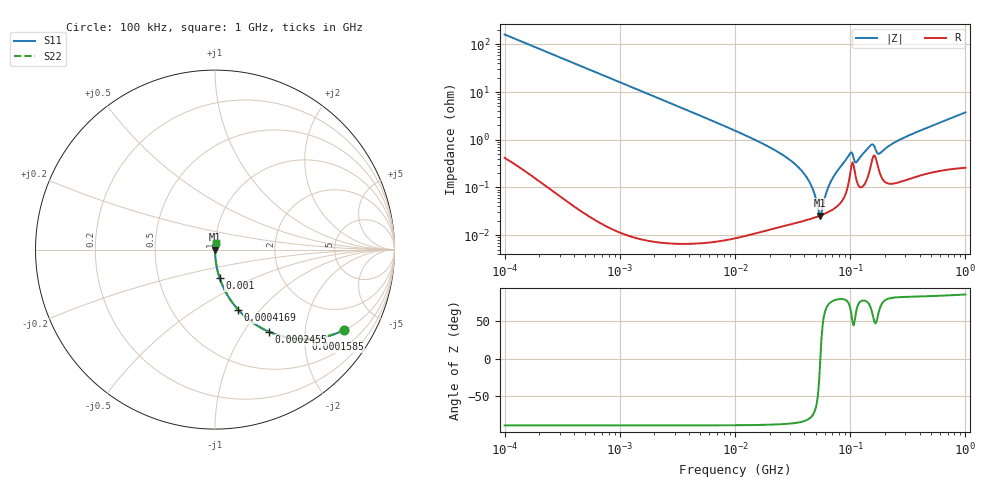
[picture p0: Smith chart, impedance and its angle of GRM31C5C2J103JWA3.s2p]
!Murata Part Number: GRM31C5C2J103JWA3
!These Parameters are Measured in Series Mode Connection
!Data Generated on Mar 30, 2021
!  o--ll--o
!Port1  Port2
!  o------o
!Operation Temp=25[degC], DC Bias Voltage=0[V]
!Freq. Start=100[kHz] Stop=1000[MHz] 401[Steps]
# Hz S RI R 50
!Freq.(Hz) S11(Real) S11(Imag) S21(Real) S21(Imag) S12(Real) S12(Imag) S22(Real) S22(Imag)
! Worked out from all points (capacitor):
!   401 points, 100 kHz to 1 GHz, reference 50 ohm
!   read as one part in series: C = 9.91 nF near 104.7 kHz
!   lowest |Z| = 25.9 mohm at 54.95 MHz (marker M1)
!   series resonance near 55.08 MHz, so ESL is about 840 pH
!   S11 on the Smith chart (normalised r, x): 100 kHz: 1.01, -3.21; 158.5 kHz: 1.00, -2.03; 245.5 kHz: 1.00, -1.31; 416.9 kHz: 1.00, -0.77; 1 MHz: 1.00, -0.32; 1 GHz: 1.01, +0.07
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100000  0.72 -0.4477  0.28 0.4477  0.28 0.4477  0.72 -0.4477
158489  0.5068 -0.499  0.4932 0.499  0.4932 0.499  0.5068 -0.499
245471  0.3004 -0.4577  0.6996 0.4577  0.6996 0.4577  0.3004 -0.4577
416869  0.1297 -0.3355  0.8703 0.3355  0.8703 0.3355  0.1297 -0.3355
467735  0.1059 -0.3072  0.8941 0.3072  0.8941 0.3072  0.1059 -0.3072
1000000  0.0253 -0.1567  0.9747 0.1567  0.9747 0.1567  0.0253 -0.1567
2187762  0.00542 -0.073  0.9946 0.073  0.9946 0.073  0.00542 -0.073
1e7  0.000327 -0.0155  0.9997 0.0155  0.9997 0.0155  0.000327 -0.0155
2.951209e7  0.000181 -0.00388  0.9998 0.00388  0.9998 0.00388  0.000181 -0.00388
3.890451e7  0.000202 -0.00208  0.9998 0.00208  0.9998 0.00208  0.000202 -0.00208
4.677351e7  0.000226 -0.000968  0.9998 0.000968  0.9998 0.000968  0.000226 -0.000968
5.248075e7  0.000248 -0.000287  0.9998 0.000287  0.9998 0.000287  0.000248 -0.000287
5.495409e7  0.000258 -1.33e-05  0.9997 1.33e-05  0.9997 1.33e-05  0.000258 -1.33e-05
5.754399e7  0.00027 0.000262  0.9997 -0.000262  0.9997 -0.000262  0.00027 0.000262
6.91831e7  0.000338 0.00141  0.9997 -0.00141  0.9997 -0.00141  0.000338 0.00141
9.772372e7  0.00141 0.00456  0.9986 -0.00456  0.9986 -0.00456  0.00141 0.00456
1.023293e8  0.00278 0.00468  0.9972 -0.00468  0.9972 -0.00468  0.00278 0.00468
1.148154e8  0.00129 0.00327  0.9987 -0.00327  0.9987 -0.00327  0.00129 0.00327
1.513561e8  0.00299 0.0071  0.997 -0.0071  0.997 -0.0071  0.00299 0.0071
1.778279e8  0.00229 0.00453  0.9977 -0.00453  0.9977 -0.00453  0.00229 0.00453
2.187762e8  0.00125 0.00743  0.9987 -0.00743  0.9987 -0.00743  0.00125 0.00743
1e9  0.00396 0.037  0.996 -0.037  0.996 -0.037  0.00396 0.037
